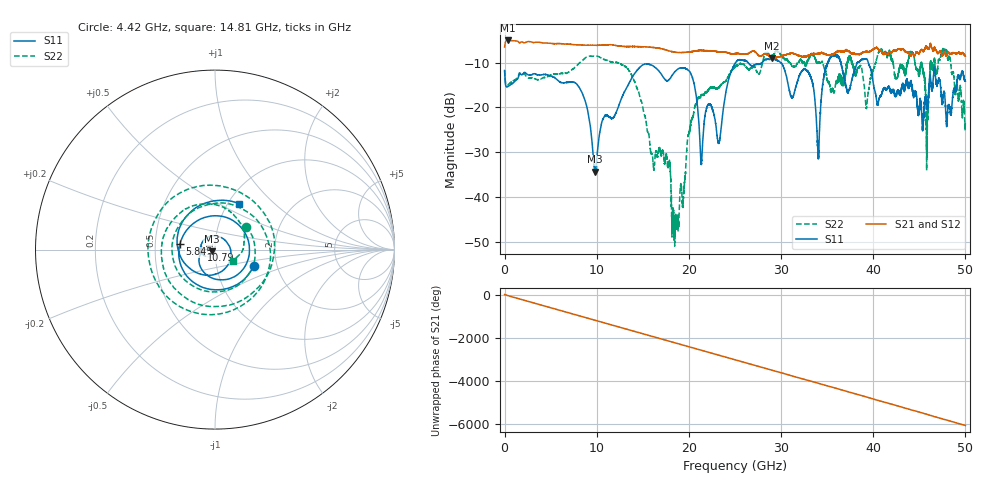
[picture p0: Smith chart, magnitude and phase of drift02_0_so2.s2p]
!Created with skrf (http://scikit-rf.org).
# Hz S RI R 50.0
!freq ReS11 ImS11 ReS21 ImS21 ReS12 ImS12 ReS22 ImS22
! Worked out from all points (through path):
!   10001 points, 300 kHz to 50 GHz, reference 50 ohm
!   highest |S21| = -5.04 dB at 325.3 MHz (marker M1); lowest = -9.1 dB at 29.05 GHz (marker M2)
!   group delay of S21, straight-line fit = 336 ps
!   lowest |S11| = -34.3 dB at 9.815 GHz (marker M3), VSWR 1.04, Z = 48.4 - j0.918 ohm
!   |S11| at or under -10 dB: start of sweep to 25.07 GHz; 29.98 GHz to 35.05 GHz (5.073 GHz wide, 15.6 % of centre); 39.47 GHz to end of sweep (the widest 3 of 11)
!   |S22| runs from -51.0 to -6.8 dB; largest |S21 - S12| = 0.021
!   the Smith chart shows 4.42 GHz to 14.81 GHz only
!   S11 on the Smith chart (normalised r, x): 4.42 GHz: 1.51, -0.29; 5.845 GHz: 0.67, +0.04; 10.79 GHz: 0.86, -0.01; 14.81 GHz: 1.12, +0.63
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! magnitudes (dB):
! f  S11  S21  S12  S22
! 300 kHz  -11.7  -6.5  -6.4  -11.7
! 325.3 MHz  -15.4  -5.0  -5.0  -15.0
! 4.42 GHz  -12.6  -5.6  -5.6  -13.3
! 5.845 GHz  -14.1  -5.7  -5.7  -12.5
! 8.335 GHz  -16.4  -6.1  -6.0  -9.7
! 9.815 GHz  -34.3  -6.1  -6.1  -8.6
! 10.79 GHz  -22.2  -6.1  -6.1  -9.3
! 14.81 GHz  -10.8  -6.4  -6.4  -18.5
! 16.67 GHz  -11.7  -6.7  -6.7  -30.0
! 18.63 GHz  -11.7  -7.7  -7.7  -45.3
! 20.35 GHz  -13.1  -7.5  -7.5  -22.4
! 21.37 GHz  -32.3  -7.2  -7.3  -17.3
! 23.3 GHz  -27.7  -7.6  -7.6  -15.5
! 25 GHz  -10.3  -8.0  -8.0  -11.0
! 29.05 GHz  -9.1  -9.1  -9.0  -8.3
! 33.34 GHz  -14.0  -8.1  -8.2  -7.9
! 34.02 GHz  -31.2  -7.9  -8.0  -10.1
! 35.54 GHz  -8.4  -8.2  -8.2  -15.9
! 41.67 GHz  -15.3  -7.7  -7.8  -7.7
! 45.85 GHz  -20.5  -6.7  -6.8  -22.6
! 47.77 GHz  -17.7  -7.6  -7.6  -7.1
! 50 GHz  -14.1  -8.6  -8.5  -23.1
